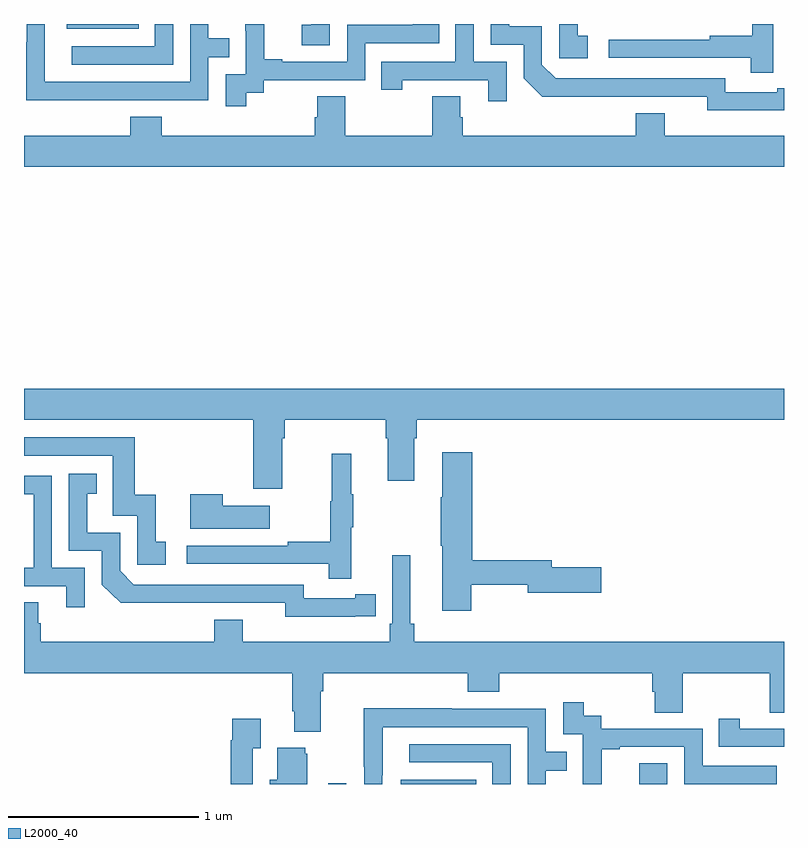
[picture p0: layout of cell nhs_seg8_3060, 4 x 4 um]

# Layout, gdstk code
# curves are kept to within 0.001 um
import gdstk
lib = gdstk.Library(unit=1e-6, precision=1e-09)
def R(c, l, rs):  # rectangles x0, y0, x1, y1
    for r in rs: c.add(gdstk.rectangle(r[:2], r[2:], *l))
def P(c, l, *ps):  # polygons
    for p in ps: c.add(gdstk.Polygon(p, *l))
L2000_40 = (2000, 40)

nhs_seg8_3060 = lib.new_cell('nhs_seg8_3060')
R(nhs_seg8_3060, L2000_40, [(302.601,1131.9,302.697,1131.904), (302.984,1131.9,303.38,1131.922), (304.239,1131.9,304.386,1132.009), (301.226,1135.874,301.604,1135.9)])
P(nhs_seg8_3060, L2000_40, [(303.54,1135.701),(303.366,1135.701),(303.366,1135.9),(303.27,1135.9),(303.27,1135.701),(302.881,1135.701),(302.881,1135.554),(302.992,1135.554),(302.992,1135.605),(303.443,1135.605),(303.443,1135.494),(303.54,1135.494)],
  [(302.17,1135.537),(302.262,1135.537),(302.262,1135.605),(302.796,1135.605),(302.796,1135.8),(303.185,1135.8),(303.185,1135.9),(303.045,1135.9),(303.045,1135.896),(302.7,1135.896),(302.7,1135.701),(302.359,1135.701),(302.359,1135.714),(302.264,1135.714),(302.264,1135.9),(302.165,1135.9),(302.165,1135.865),(302.166,1135.865),(302.166,1135.635),(302.061,1135.635),(302.061,1135.467),(302.17,1135.467)],
  [(304.964,1135.446),(305,1135.446),(305,1135.562),(304.964,1135.562),(304.964,1135.542),(304.692,1135.542),(304.692,1135.614),(303.798,1135.614),(303.726,1135.686),(303.726,1135.887),(303.553,1135.887),(303.553,1135.9),(303.456,1135.9),(303.456,1135.791),(303.63,1135.791),(303.63,1135.614),(303.728,1135.517),(304.596,1135.518),(304.596,1135.445)],
  [(301.785,1135.9),(301.689,1135.9),(301.689,1135.782),(301.251,1135.782),(301.251,1135.686),(301.785,1135.686)],
  [(302.61,1135.9),(302.512,1135.9),(302.512,1135.897),(302.463,1135.897),(302.463,1135.788),(302.61,1135.788)],
  [(304.943,1135.9),(304.833,1135.9),(304.833,1135.838),(304.609,1135.838),(304.609,1135.818),(304.077,1135.818),(304.077,1135.722),(304.825,1135.722),(304.825,1135.644),(304.943,1135.644)],
  [(301.475,1135.5),(301.971,1135.5),(301.971,1135.725),(302.081,1135.725),(302.081,1135.826),(301.971,1135.826),(301.971,1135.9),(301.875,1135.9),(301.875,1135.596),(301.11,1135.596),(301.11,1135.9),(301.014,1135.9),(301.014,1135.805),(301.012,1135.805),(301.012,1135.499),(301.475,1135.499)],
  [(303.967,1135.839),(303.914,1135.839),(303.914,1135.9),(303.816,1135.9),(303.816,1135.719),(303.967,1135.719)],
  [(305,1135.312),(304.372,1135.312),(304.372,1135.429),(304.22,1135.429),(304.22,1135.312),(303.308,1135.312),(303.308,1135.41),(303.295,1135.41),(303.295,1135.52),(303.148,1135.52),(303.148,1135.312),(302.691,1135.312),(302.691,1135.52),(302.543,1135.52),(302.543,1135.41),(302.531,1135.41),(302.531,1135.312),(301.724,1135.312),(301.724,1135.411),(301.559,1135.411),(301.559,1135.312),(301,1135.312),(301,1135.148),(305,1135.148)],
  [(302.359,1133.72),(302.372,1133.72),(302.372,1133.816),(302.903,1133.816),(302.903,1133.72),(302.915,1133.72),(302.915,1133.496),(303.055,1133.496),(303.055,1133.72),(303.068,1133.72),(303.068,1133.816),(305,1133.816),(305,1133.98),(301,1133.98),(301,1133.816),(302.207,1133.816),(302.207,1133.454),(302.359,1133.454)],
  [(301.747,1133.175),(301.694,1133.175),(301.694,1133.422),(301.583,1133.422),(301.583,1133.724),(301,1133.724),(301,1133.628),(301.467,1133.628),(301.467,1133.313),(301.596,1133.313),(301.596,1133.055),(301.747,1133.055)],
  [(303.354,1132.95),(303.65,1132.95),(303.65,1132.907),(304.039,1132.907),(304.039,1133.042),(303.778,1133.042),(303.778,1133.078),(303.359,1133.078),(303.359,1133.647),(303.2,1133.647),(303.2,1133.408),(303.193,1133.408),(303.193,1133.155),(303.2,1133.155),(303.2,1132.812),(303.354,1132.812)],
  [(302.723,1133.251),(302.734,1133.251),(302.734,1133.425),(302.723,1133.425),(302.723,1133.638),(302.62,1133.638),(302.62,1133.388),(302.613,1133.388),(302.613,1133.174),(302.389,1133.174),(302.389,1133.154),(301.857,1133.154),(301.857,1133.058),(302.605,1133.058),(302.605,1132.98),(302.723,1132.98)],
  [(302.744,1132.782),(302.852,1132.782),(302.852,1132.898),(302.744,1132.898),(302.744,1132.878),(302.472,1132.878),(302.472,1132.95),(301.578,1132.95),(301.506,1133.022),(301.506,1133.223),(301.333,1133.223),(301.333,1133.427),(301.382,1133.427),(301.382,1133.533),(301.236,1133.533),(301.236,1133.127),(301.41,1133.127),(301.41,1132.95),(301.508,1132.853),(302.376,1132.854),(302.376,1132.781)],
  [(301.32,1133.037),(301.146,1133.037),(301.146,1133.523),(301,1133.523),(301,1133.426),(301.05,1133.426),(301.05,1133.037),(301,1133.037),(301,1132.941),(301.223,1132.941),(301.223,1132.83),(301.32,1132.83)],
  [(302.293,1133.365),(302.045,1133.365),(302.045,1133.425),(301.874,1133.425),(301.874,1133.243),(302.293,1133.243)],
  [(302.563,1132.388),(302.576,1132.388),(302.576,1132.484),(303.335,1132.484),(303.335,1132.385),(303.5,1132.385),(303.5,1132.484),(304.307,1132.484),(304.307,1132.386),(304.319,1132.386),(304.319,1132.276),(304.467,1132.276),(304.467,1132.484),(304.924,1132.484),(304.924,1132.276),(305,1132.276),(305,1132.648),(303.053,1132.648),(303.053,1132.744),(303.034,1132.744),(303.034,1133.104),(302.937,1133.104),(302.937,1132.744),(302.924,1132.744),(302.924,1132.648),(302.152,1132.648),(302.152,1132.765),(302,1132.765),(302,1132.648),(301.088,1132.648),(301.088,1132.746),(301.075,1132.746),(301.075,1132.856),(301,1132.856),(301,1132.484),(302.411,1132.484),(302.411,1132.282),(302.423,1132.282),(302.423,1132.175),(302.563,1132.175)],
  [(304.04,1132.083),(304.135,1132.083),(304.135,1132.095),(304.476,1132.095),(304.476,1131.9),(304.961,1131.9),(304.961,1131.996),(304.572,1131.996),(304.572,1132.191),(304.038,1132.191),(304.038,1132.26),(303.946,1132.26),(303.946,1132.33),(303.837,1132.33),(303.837,1132.161),(303.942,1132.161),(303.942,1131.932),(303.941,1131.932),(303.941,1131.9),(304.04,1131.9)],
  [(302.886,1131.946),(302.887,1131.946),(302.887,1132.2),(303.651,1132.2),(303.651,1131.9),(303.747,1131.9),(303.747,1131.97),(303.857,1131.97),(303.857,1132.071),(303.747,1132.071),(303.747,1132.296),(303.251,1132.296),(303.251,1132.298),(302.788,1132.298),(302.788,1131.991),(302.79,1131.991),(302.79,1131.9),(302.886,1131.9)],
  [(305,1132.191),(304.768,1132.191),(304.768,1132.243),(304.657,1132.243),(304.657,1132.095),(305,1132.095)],
  [(302.205,1132.087),(302.245,1132.087),(302.245,1132.243),(302.097,1132.243),(302.097,1132.13),(302.089,1132.13),(302.089,1131.9),(302.205,1131.9)],
  [(303.561,1132.11),(303.027,1132.11),(303.027,1132.014),(303.465,1132.014),(303.465,1131.9),(303.561,1131.9)],
  [(302.491,1132.059),(302.48,1132.059),(302.48,1132.09),(302.333,1132.09),(302.333,1131.922),(302.294,1131.922),(302.294,1131.9),(302.491,1131.9)])

lib.write_gds('nhs_seg8_3060.gds')
